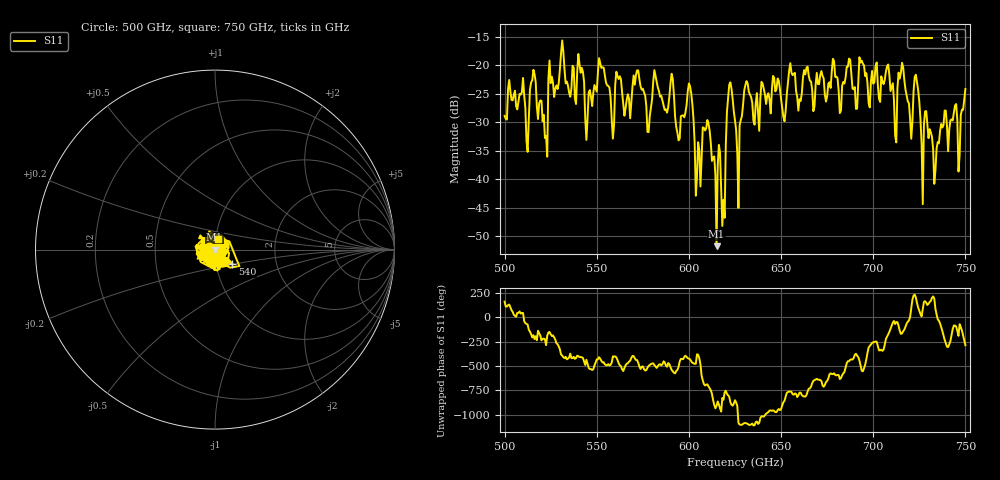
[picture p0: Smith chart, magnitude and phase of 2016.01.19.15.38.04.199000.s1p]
!Created with skrf (http://scikit-rf.org).
# GHz S RI R 50.0
!freq ReS11 ImS11
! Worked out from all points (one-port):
!   401 points, 500 GHz to 750 GHz, reference 50 ohm
!   lowest |S11| = -51.8 dB at 615 GHz (marker M1), VSWR 1.01, Z = 49.7 + j0.0348 ohm
!   |S11| at or under -10 dB: start of sweep to end of sweep
!   S11 on the Smith chart (normalised r, x): 500 GHz: 0.93, +0.02; 540 GHz: 1.20, -0.19; 750 GHz: 1.03, +0.12
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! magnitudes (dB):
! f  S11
! 500 GHz  -28.9
! 512.5 GHz  -35.2
! 515.6 GHz  -20.8
! 521.9 GHz  -32.8
! 525 GHz  -23.2
! 531.2 GHz  -15.7
! 540 GHz  -18.0
! 545 GHz  -29.3
! 551.9 GHz  -19.7
! 558.1 GHz  -29.6
! 562.5 GHz  -22.0
! 578.1 GHz  -31.8
! 590.6 GHz  -21.5
! 593.8 GHz  -31.9
! 600.6 GHz  -23.7
! 605 GHz  -33.5
! 609.4 GHz  -31.1
! 615 GHz  -51.8
! 618.8 GHz  -43.6
! 621.9 GHz  -23.4
! 625 GHz  -29.7
! 656.2 GHz  -21.8
! 687.5 GHz  -19.0
! 718.8 GHz  -26.3
! 723.8 GHz  -23.0
! 726.2 GHz  -33.8
! 733.8 GHz  -38.4
! 750 GHz  -24.2
